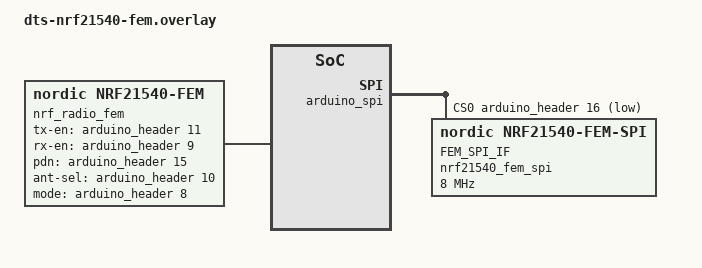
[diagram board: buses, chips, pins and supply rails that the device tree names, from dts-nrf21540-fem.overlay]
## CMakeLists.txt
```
#
# Copyright (c) 2026 Nordic Semiconductor
#
# SPDX-License-Identifier: LicenseRef-Nordic-5-Clause
#
cmake_minimum_required(VERSION 3.20.0)

find_package(Zephyr REQUIRED HINTS $ENV{ZEPHYR_BASE})
project(dtm)

target_sources(app PRIVATE
  src/dtm_twowire_transport.c
  src/main.c
)
```

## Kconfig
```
#
# Copyright (c) 2026 Nordic Semiconductor
#
# SPDX-License-Identifier: LicenseRef-Nordic-5-Clause
#

mainmenu "Nordic DTM sample"

module = DTM_TW_TRANSPORT
module-str = "DTM 2-wire transport"
source "subsys/logging/Kconfig.template.log_config"

source "Kconfig.zephyr"
```

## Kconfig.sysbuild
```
#
# Copyright (c) 2026 Nordic Semiconductor
#
# SPDX-License-Identifier: LicenseRef-Nordic-5-Clause
#

choice APPCORE
	default APPCORE_EMPTY if SOC_NRF5340_CPUNET
	depends on SUPPORT_APPCORE

endchoice

source "share/sysbuild/Kconfig"
```

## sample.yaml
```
sample:
  description: Bluetooth Low Energy Direct Test Mode sample
  name: Bluetooth LE Direct Test Mode
common:
  tags:
    - bluetooth
    - ci_build
    - sysbuild
    - ci_samples_bluetooth
tests:
  sample.bluetooth.direct_test_mode:
    sysbuild: true
    build_only: true
    extra_configs:
      - CONFIG_CLOCK_CONTROL_NRF=n
    integration_platforms:
      - nrf5340dk/nrf5340/cpunet
      - nrf54h20dk/nrf54h20/cpurad
      - nrf54l15dk/nrf54l15/cpuapp
    platform_allow:
      - nrf5340dk/nrf5340/cpunet
      - nrf54l15dk/nrf54l05/cpuapp
      - nrf54l15dk/nrf54l10/cpuapp
      - nrf54l15dk/nrf54l15/cpuapp
      - nrf54lm20dk/nrf54lm20b/cpuapp
      - nrf54lv10dk/nrf54lv10a/cpuapp
      - nrf54lc10dk/nrf54lc10a/cpuapp
      - nrf54ls05dk/nrf54ls05b/cpuapp
      - nrf54ls05dk/nrf54ls05a/cpuapp
      - nrf54h20dk/nrf54h20/cpurad
  sample.bluetooth.direct_test_mode.nrf5340_nrf21540:
    sysbuild: true
    build_only: true
    extra_args: SHIELD=nrf21540ek
    extra_configs:
      - CONFIG_CLOCK_CONTROL_NRF=n
    integration_platforms:
      - nrf5340dk/nrf5340/cpunet
    platform_allow: nrf5340dk/nrf5340/cpunet
  sample.bluetooth.direct_test_mode.nrf2240:
    sysbuild: true
    build_only: true
    extra_args: SHIELD=nrf2240eb
    integration_platforms:
      - nrf5340dk/nrf5340/cpunet
      - nrf54l15dk/nrf54l15/cpuapp
    platform_allow:
      - nrf5340dk/nrf5340/cpunet
      - nrf54l15dk/nrf54l15/cpuapp
```

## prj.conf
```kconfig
# IO
CONFIG_CONSOLE=n
CONFIG_UART_CONSOLE=n
CONFIG_UART_USE_RUNTIME_CONFIGURE=y

# Assertions
CONFIG_ASSERT=y

# hci_raw
CONFIG_BT=y
CONFIG_BT_HCI_RAW=y

# Data buffers
CONFIG_NET_BUF=y
CONFIG_BT_BUF_CMD_TX_SIZE=255
CONFIG_BT_BUF_EVT_RX_SIZE=255

# PHYs
CONFIG_BT_CTLR_PHY_CODED=y

# DTM
CONFIG_BT_CTLR_DTM_HCI=y

# DTM 2-wire to HCI
CONFIG_BT_CTLR_EXTENDED_FEAT_SET=y
CONFIG_DTM_TWOWIRE_TO_HCI=y

# Enable DLE feature
CONFIG_BT_DATA_LEN_UPDATE=y

# Logging
# To enable logging for this sample, assign 'y' to these options
CONFIG_LOG=n
CONFIG_LOG_PRINTK=n
CONFIG_USE_SEGGER_RTT=n
CONFIG_LOG_BACKEND_RTT=n
```

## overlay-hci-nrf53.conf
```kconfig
#
# Copyright (c) 2023 Nordic Semiconductor
#
# SPDX-License-Identifier: LicenseRef-Nordic-5-Clause
#

CONFIG_NCS_SAMPLE_REMOTE_SHELL_CHILD_IMAGE=n
CONFIG_IPC_UART=n

CONFIG_NCS_SAMPLE_DTM_REMOTE_HCI_CHILD_IMAGE=y
CONFIG_NRF_RPC=y
CONFIG_NRF_RPC_CBOR=y

CONFIG_DTM_TRANSPORT_HCI=y
CONFIG_NET_BUF=y
```

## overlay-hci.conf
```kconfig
#
# Copyright (c) 2023 Nordic Semiconductor
#
# SPDX-License-Identifier: LicenseRef-Nordic-5-Clause
#

CONFIG_DTM_TRANSPORT_HCI=y
CONFIG_NET_BUF=y
CONFIG_UART_ASYNC_API=y
```

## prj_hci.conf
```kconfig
#
# Copyright (c) 2020 Nordic Semiconductor
#
# SPDX-License-Identifier: LicenseRef-Nordic-5-Clause
#

# Configure assertions
CONFIG_ASSERT=y
CONFIG_ASSERT_NO_COND_INFO=y
CONFIG_ASSERT_NO_MSG_INFO=y

CONFIG_HW_STACK_PROTECTION=y

CONFIG_CONSOLE=n
CONFIG_UART_CONSOLE=n

CONFIG_LOG=y
CONFIG_LOG_PRINTK=y
CONFIG_USE_SEGGER_RTT=y
CONFIG_LOG_BACKEND_RTT=y

# Use necessary peripherals
CONFIG_NRFX_TIMER=y
CONFIG_NRFX_GPPI=y
CONFIG_CLOCK_CONTROL=y

CONFIG_FEM_AL_LIB=y

CONFIG_DTM_TRANSPORT_HCI=y
CONFIG_NET_BUF=y
CONFIG_UART_ASYNC_API=y
```

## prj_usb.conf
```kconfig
#
# Copyright (c) 2020 Nordic Semiconductor
#
# SPDX-License-Identifier: LicenseRef-Nordic-5-Clause
#

# Configure assertions
CONFIG_ASSERT=y
CONFIG_ASSERT_NO_COND_INFO=y
CONFIG_ASSERT_NO_MSG_INFO=y

CONFIG_HW_STACK_PROTECTION=y

CONFIG_CONSOLE=n
CONFIG_UART_CONSOLE=n

CONFIG_LOG=y
CONFIG_LOG_PRINTK=y
CONFIG_USE_SEGGER_RTT=y
CONFIG_LOG_BACKEND_RTT=y

# Use necessary peripherals
CONFIG_NRFX_TIMER0=y
CONFIG_NRFX_TIMER2=y
CONFIG_NRFX_GPPI=y
CONFIG_CLOCK_CONTROL=y

CONFIG_FEM_AL_LIB=y

CONFIG_DTM_USB=y
```

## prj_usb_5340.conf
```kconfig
#
# Copyright (c) 2020 Nordic Semiconductor
#
# SPDX-License-Identifier: LicenseRef-Nordic-5-Clause
#

# Configure assertions
CONFIG_ASSERT=y
CONFIG_ASSERT_NO_COND_INFO=y
CONFIG_ASSERT_NO_MSG_INFO=y

CONFIG_HW_STACK_PROTECTION=y

CONFIG_CONSOLE=n
CONFIG_UART_CONSOLE=n

CONFIG_LOG=y
CONFIG_LOG_PRINTK=y
CONFIG_USE_SEGGER_RTT=y
CONFIG_LOG_BACKEND_RTT=y

# Use necessary peripherals
CONFIG_NRFX_TIMER=y
CONFIG_NRFX_GPPI=y
CONFIG_CLOCK_CONTROL=y

CONFIG_FEM_AL_LIB=y

CONFIG_DTM_USB=y
```

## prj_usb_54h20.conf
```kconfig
#
# Copyright (c) 2025 Nordic Semiconductor ASA
#
# SPDX-License-Identifier: LicenseRef-Nordic-5-Clause
#
CONFIG_ASSERT=y
CONFIG_ASSERT_NO_COND_INFO=y
CONFIG_ASSERT_NO_MSG_INFO=y

CONFIG_HW_STACK_PROTECTION=y

CONFIG_CONSOLE=n
CONFIG_UART_CONSOLE=n

CONFIG_LOG=y
CONFIG_LOG_PRINTK=y
CONFIG_USE_SEGGER_RTT=y
CONFIG_LOG_BACKEND_RTT=y
CONFIG_MAIN_STACK_SIZE=2048
CONFIG_SYSTEM_WORKQUEUE_STACK_SIZE=2048

# Enable USB CDC ACM Class
CONFIG_USB_DEVICE_STACK_NEXT=y
CONFIG_CDC_ACM_SERIAL_INITIALIZE_AT_BOOT=y
CONFIG_CDC_ACM_SERIAL_PID=0x5448
CONFIG_CDC_ACM_SERIAL_PRODUCT_STRING="Nordic DTM USB"
CONFIG_UART_LINE_CTRL=y
CONFIG_DTM_USB=y
CONFIG_SERIAL=y

# Use necessary peripherals
CONFIG_NRFX_TIMER=y
CONFIG_NRFX_GPPI=y
CONFIG_CLOCK_CONTROL=y
```

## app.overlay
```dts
&uart0 {
	status = "okay";
	current-speed = <19200>;
};
```

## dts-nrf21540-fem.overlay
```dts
/* Copyright (c) 2021 Nordic Semiconductor ASA
 *
 * SPDX-License-Identifier: LicenseRef-Nordic-5-Clause
 */

 / {
	nrf_radio_fem: nrf21540_fem {
		compatible = "nordic,nrf21540-fem";
		tx-en-gpios = <&arduino_header 11 GPIO_ACTIVE_HIGH>;   /* D5 */
		rx-en-gpios = <&arduino_header 9 GPIO_ACTIVE_HIGH>;    /* D3 */
		pdn-gpios = <&arduino_header 15 GPIO_ACTIVE_HIGH>;     /* D9 */
		ant-sel-gpios = <&arduino_header 10 GPIO_ACTIVE_HIGH>; /* D4 */
		mode-gpios = <&arduino_header 8 GPIO_ACTIVE_HIGH>;     /* D2 */
		spi-if = <&nrf_radio_fem_spi>;
	};
};

fem_spi: &arduino_spi {
	status = "okay";
	cs-gpios = <&arduino_header 16 GPIO_ACTIVE_LOW>; /* D10 */

	nrf_radio_fem_spi: nrf21540_fem_spi@0 {
		compatible = "nordic,nrf21540-fem-spi";
		status = "okay";
		reg = <0>;
		label = "FEM_SPI_IF";
		spi-max-frequency = <8000000>;
	};
};
```

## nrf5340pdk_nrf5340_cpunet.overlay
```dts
&uart0 {
	status = "okay";
	current-speed = <19200>;
};

/ {
     zephyr,user {
	     dtm_antenna_count = <12>;
	     dtm_antenna_1_pin = <32>;
	     dtm_antenna_2_pin = <33>;
	     dtm_antenna_3_pin = <34>;
	     dtm_antenna_4_pin = <35>;
	     dtm_antenna_5_pin = <36>;
	     dtm_antenna_6_pin = <37>;
	     dtm_antenna_7_pin = <38>;
	     dtm_antenna_8_pin = <39>;
     };
};
```

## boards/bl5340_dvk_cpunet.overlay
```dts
/ {
	chosen {
		ncs,dtm-uart = &uart0;
	};
};

&uart0 {
	status = "okay";
	compatible = "nordic,nrf-ipc-uart";
	ipc = <&ipc0>;
	ept-name = "remote shell";
	current-speed = <19200>;
};

/* Disable direction finding */
&radio {
	/delete-property/ dfe-supported;
};
```

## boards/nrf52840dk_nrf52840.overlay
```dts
/*
 * Copyright (c) 2023 Nordic Semiconductor ASA
 *
 * SPDX-License-Identifier: LicenseRef-Nordic-5-Clause
 */

/ {
	chosen {
		ncs,dtm-uart = &uart0;
	};

	aliases {
		dtm-alive-pin = &led1;
	};
};

&uart0 {
	status = "okay";
	current-speed = <19200>;
};
```

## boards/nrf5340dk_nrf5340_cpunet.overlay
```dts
/*
 * Copyright (c) 2023 Nordic Semiconductor ASA
 *
 * SPDX-License-Identifier: LicenseRef-Nordic-5-Clause
 */

/ {
	chosen {
		ncs,dtm-uart = &uart_ipc;
	};

	aliases {
		dtm-alive-pin = &led0;
	};

	uart_ipc: uart_ipc {
		status = "okay";
		compatible = "nordic,nrf-ipc-uart";
		ipc = <&ipc0>;
		ept-name = "remote shell";
		current-speed = <19200>;
	};
};

&radio {
	status = "okay";
	/* This is a number of antennas that are available on antenna matrix
	 * designed by Nordic. For more information see README.rst.
	 */
	dfe-antenna-num = <12>;
	/* This is a setting that enables antenna 12 (in antenna matrix designed
	 * by Nordic) for PDU. For more information see README.rst.
	 */
	dfe-pdu-antenna = <0x0>;

	/* These are GPIO pin numbers that are provided to
	 * Radio peripheral. The pins will be acquired by Radio to
	 * drive antenna switching.
	 * Pin numbers are selected to drive switches on antenna matrix
	 * desinged by Nordic. For more information see README.rst.
	 */
	dfegpio0-gpios = <&gpio0 4 0>;
	dfegpio1-gpios = <&gpio0 5 0>;
	dfegpio2-gpios = <&gpio0 6 0>;
	dfegpio3-gpios = <&gpio0 7 0>;
};
```

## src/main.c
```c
/*
 * Copyright (c) 2026 Nordic Semiconductor ASA
 *
 * SPDX-License-Identifier: LicenseRef-Nordic-5-Clause
 */

#include <zephyr/kernel.h>
#include <zephyr/bluetooth/buf.h>
#include <zephyr/bluetooth/hci_raw.h>

#include <bluetooth/dtm_twowire/dtm_twowire_to_hci.h>

#include "dtm_twowire_transport.h"

static K_FIFO_DEFINE(hci_c2h_queue);

int main(void)
{
	printk("Starting DTM sample\n");

	int err;

	err = dtm_tw_transport_init();
	if (err) {
		return err;
	}

	err = bt_enable_raw(&hci_c2h_queue);
	if (err) {
		return err;
	}

	for (;;) {
		const uint16_t tw_cmd = dtm_tw_transport_read();

		printk("Received 2-wire command 0x%04X\n", tw_cmd);

		uint16_t tw_event;
		struct net_buf *p_hci_pkt = bt_buf_get_tx(BT_BUF_CMD, K_FOREVER, NULL, 0);

		dtm_tw_to_hci_status_t status = dtm_tw_to_hci_process_tw_cmd(tw_cmd,
									     p_hci_pkt,
									     &tw_event);
		switch (status) {
		case DTM_TW_TO_HCI_STATUS_ERROR:
			net_buf_unref(p_hci_pkt);
			printk("Error processing 2-wire command 0x%04X\n", tw_cmd);
			break;

		case DTM_TW_TO_HCI_STATUS_TW_EVENT:
			net_buf_unref(p_hci_pkt);
			printk("Sending 2-wire event 0x%04X\n", tw_event);
			dtm_tw_transport_write(tw_event);
			break;

		case DTM_TW_TO_HCI_STATUS_HCI_CMD:
			printk("Sending HCI command to SDC\n");
			err = bt_send(p_hci_pkt);
			/* Note: bt_send unrefs the buffer on success */
			if (err) {
				net_buf_unref(p_hci_pkt);
				return err;
			}

			p_hci_pkt = k_fifo_get(&hci_c2h_queue, K_FOREVER);
			status = dtm_tw_to_hci_process_hci_event(tw_cmd,
								 p_hci_pkt,
								 &tw_event);
			net_buf_unref(p_hci_pkt);
			if (status == DTM_TW_TO_HCI_STATUS_TW_EVENT) {
				dtm_tw_transport_write(tw_event);
			}
			break;

		default:
			net_buf_unref(p_hci_pkt);
			printk("Unexpected status %d processing 2-wire command 0x%04X\n",
			       status, tw_cmd);
			break;
		}
	}
}
```

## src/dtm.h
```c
/*
 * Copyright (c) 2020 Nordic Semiconductor ASA
 *
 * SPDX-License-Identifier: LicenseRef-Nordic-5-Clause
 */

#ifndef DTM_H_
#define DTM_H_

#include <stdbool.h>
#include <zephyr/types.h>
#include <zephyr/devicetree.h>

#ifdef __cplusplus
extern "C" {
#endif

#define NRF_IQ_SAMPLE_INVALID -32768

/** @brief DTM PHY mode */
enum dtm_phy {
	/** Bluetooth Low Energy 1 Mbps PHY. */
	DTM_PHY_1M,

	/** Bluetooth Low Energy 2 Mbps PHY. */
	DTM_PHY_2M,

	/** Bluetooth Low Energy Coded S=8 PHY. */
	DTM_PHY_CODED_S8,

	/** Bluetooth Low Energy Coded S=2 PHY. */
	DTM_PHY_CODED_S2
};

/** @brief DTM modulation index. */
enum dtm_modulation {
	/** Standard modulation index. */
	DTM_MODULATION_STANDARD,

	/** Stable modulation index. */
	DTM_MODULATION_STABLE
};

/** @brief DTM maximum supported values. */
enum dtm_max_supported {
	/** Maximum supported TX octets. */
	DTM_MAX_SUPPORTED_TX_OCTETS,

	/** Maximum supported TX time. */
	DTM_MAX_SUPPORTED_TX_TIME,

	/** Maximum supported RX octets. */
	DTM_MAX_SUPPORTED_RX_OCTETS,

	/** Maximum supported RX time. */
	DTM_MAX_SUPPORTED_RX_TIME,

	/** Maximum supported Constant Tone Extension length. */
	DTM_MAX_SUPPORTED_CTE_LENGTH
};

/** @brief Constant Tone Extension type. */
enum dtm_cte_type {
	/** Do not use Constant Tone Extension. */
	DTM_CTE_TYPE_NONE,

	/** Angle of Arrival. */
	DTM_CTE_TYPE_AOA,

	/** Angle of Departure 1 us slots. */
	DTM_CTE_TYPE_AOD_1US,

	/** Angle of Departure 2 us slots. */
	DTM_CTE_TYPE_AOD_2US
};

/** @brief DTM Constant Tone Extension slot duration. */
enum dtm_cte_slot_duration {
	/** CTE 1 us slots duration. */
	DTM_CTE_SLOT_DURATION_1US,

	/** CTE 2 us slots duration. */
	DTM_CTE_SLOT_DURATION_2US
};

/** @brief DTM transmit power request. */
enum dtm_tx_power_request {
	/** Request minimum power. */
	DTM_TX_POWER_REQUEST_MIN,

	/** Request maximum power. */
	DTM_TX_POWER_REQUEST_MAX,

	/** Request power by value. */
	DTM_TX_POWER_REQUEST_VAL
};

/** @brief DTM packet type. */
enum dtm_packet {
	/** Packet filled with PRBS9 stream as payload. */
	DTM_PACKET_PRBS9,

	/** Packet with 0x0F bytes as payload. */
	DTM_PACKET_0F,

	/** Packet with 0x55 bytes as payload. */
	DTM_PACKET_55,

	/** Packet filled with PRBS15 stream as payload. */
	DTM_PACKET_PRBS15,

	/** Packet with 0xFF bytes as payload or vendor specific packet. */
	DTM_PACKET_FF_OR_VENDOR,

	/** Packet with 0xFF bytes as payload. */
	DTM_PACKET_FF,

	/** Packet with 0x00 bytes as payload. */
	DTM_PACKET_00,

	/** Packet with 0xF0 bytes as payload. */
	DTM_PACKET_F0,

	/** Packet with 0xAA bytes as payload. */
	DTM_PACKET_AA,

	/** Vendor-specific packet. */
	DTM_PACKET_VENDOR
};

/** @brief DTM supported features. */
struct dtm_supp_features {
	/** Support for Data Packet Length Extension. */
	bool data_len_ext;

	/** Support for Bluetooth Low Energy 2 Mbps PHY. */
	bool phy_2m;

	/** Support for Stable Modulation Index. */
	bool stable_mod;

	/** Support for Bluetooth Low Energy Coded PHY. */
	bool coded_phy;

	/** Support for Constant Tone Extension. */
	bool cte;

	/** Support for Antenna switching. */
	bool ant_switching;

	/** Support for AoD transmission 1 us switching. */
	bool aod_1us_tx;

	/** Support for AoD reception 1 us switching. */
	bool aod_1us_rx;

	/** Support for AoA reception 1 us switching and sampling. */
	bool aoa_1us_rx;
};

/** @brief DTM transmit power. */
struct dtm_tx_power {
	/** Actual power in dBm. */
	int8_t power;

	/** Power at minimum level. */
	bool min;

	/** Power at maximum level. */
	bool max;
};

/** @brief DTM Packet status for IQ Sample report. */
enum dtm_packet_status {
	/** Packet received with proper CRC. */
	DTM_PACKET_STATUS_CRC_OK,

	/** Packet received with invalid CRC.
	 *  The Length and CTEInfo was used to calculate sampling points.
	 */
	DTM_PACKET_STATUS_CRC_ERR_TIME,

	/** Packet received with invalid CRC.
	 *  The sampling points were calculated in another way.
	 */
	DTM_PACKET_STATUS_CRC_ERR_OTHER,

	/** Packet received with invalid CRC.
	 *  Insufficient resources to sample.
	 */
	DTM_PACKET_STATUS_CRC_ERR_INSUFFICIENT
};

/** @brief IQ sample format. */
struct dtm_iq_sample {
	/** I sample value. */
	int16_t i;

	/** Q sample value. */
	int16_t q;
};

/** @brief DTM IQ sampling data with additional information. */
struct dtm_iq_data {
	/** Channel number. */
	uint8_t channel;

	/** RSSI value of received packet. */
	int16_t rssi;

	/** Antenna number used to measure RSSI. */
	uint8_t rssi_ant;

	/** CTE type. */
	enum dtm_cte_type type;

	/** CTE slot duration. */
	enum dtm_cte_slot_duration slot;

	/** Packet status. */
	enum dtm_packet_status status;

	/** IQ sample count. */
	uint8_t sample_cnt;

	/** IQ samples. */
	struct dtm_iq_sample *samples;
};

/** @brief Callback to report received IQ samples.
 *
 * @note The callback is used only with direction finding.
 *
 * @param[in] data Pointer to dtm_iq_data structure.
 */
typedef void (*dtm_iq_report_callback_t)(struct dtm_iq_data *data);

/** @brief Initialize the DTM module.
 *
 * This function initializes the DTM module and registers the IQ sampling callback.
 * If the callback is not needed, the pointer can be NULL.
 *
 * @param[in] iq_callback Function pointer to the IQ report callback, can be NULL.
 *
 * @return 0 in case of success or negative value in case of error.
 */
int dtm_init(dtm_iq_report_callback_t callback);

/** @brief Prepare DTM for setup.
 *
 * @note This function should be called before setup functions.
 * The function can be called once before a block of setup functions.
 */
void dtm_setup_prepare(void);

/** @brief Reset the DTM state.
 *
 * The PHY is set to Bluetooth Low Energy 1M mode.
 * The modulation index is set to standard.
 * The CTE is turned off.
 *
 * @return 0 in case of success or negative value in case of error.
 */
int dtm_setup_reset(void);

/** @brief Set the PHY for DTM.
 *
 * @param[in] phy The PHY to be used.
 *
 * @return 0 in case of success or negative value in case of error.
 */
int dtm_setup_set_phy(enum dtm_phy phy);

/** @brief Set the modulation for DTM.
 *
 * @param[in] modulation The modulation to be used.
 *
 * @return 0 in case of success or negative value in case of error.
 */
int dtm_setup_set_modulation(enum dtm_modulation modulation);

/** @brief Read supported BLE features.
 *
 * @return Features supported by the device.
 */
struct dtm_supp_features dtm_setup_read_features(void);

/** @brief Read the maximum supported parameter value by DTM.
 *
 * @param[in] parameter Value to be read.
 * @param[out] max_val  The pointer to the maximum value.
 *
 * @return 0 in case of success or negative value in case of error.
 */
int dtm_setup_read_max_supported_value(enum dtm_max_supported parameter, uint16_t *max_val);

/** @brief Setup the CTE for DTM.
 *
 * @param[in] type The CTE type to be used.
 * @param[in] time The time of CTE in 8 us units.
 *
 * @return 0 in case of success or negative value in case of error.
 */
int dtm_setup_set_cte_mode(enum dtm_cte_type type, uint8_t time);

/** @brief Set the CTE slots duration for DTM.
 *
 * @param[in] slot The CTE slots duration.
 *
 * @return 0 in case of success or negative value in case of error.
 */
int dtm_setup_set_cte_slot(enum dtm_cte_slot_duration slot);

/** @brief Set the antenna parameters for DTM.
 *
 * @param[in] count       The antenna count.
 * @param[in] pattern     The antenna switching pattern.
 * @param[in] pattern_len The length of the pattern.
 *
 * @return 0 in case of success or negative value in case of error.
 */
int dtm_setup_set_antenna_params(uint8_t count, uint8_t *pattern, uint8_t pattern_len);

/** @brief Set the transmit power for DTM.
 *
 * @param[in] power   The transmit power request.
 * @param[in] val     TX power value (in dBm) in case of DTM_TX_POWER_REQUEST_VAL request.
 * @param[in] channel The channel to adjust power (set to 0 if unknown).
 *
 * @return The actual TX power set by the function.
 */
struct dtm_tx_power dtm_setup_set_transmit_power(enum dtm_tx_power_request power, int8_t val,
						 uint8_t channel);

/** @brief Start the DTM reception test.
 *
 * @param[in] channel The reception channel.
 *
 * @return 0 in case of success or negative value in case of error.
 */
int dtm_test_receive(uint8_t channel);

/** @brief Start the DTM transmission test.
 *
 * @param[in] channel The transmission channel.
 * @param[in] length  The packet length.
 * @param[in] pkt     The packet type.
 *
 * @return 0 in case of success or negative value in case of error.
 */
int dtm_test_transmit(uint8_t channel, uint8_t length, enum dtm_packet pkt);

/** @brief Stop the DTM test.
 *
 * Stop current DTM test and return the number of received packets.
 *
 * @param[out] pack_cnt The pointer to the received packet count.
 *
 * @return 0 in case of success or negative value in case of error.
 */
int dtm_test_end(uint16_t *pack_cnt);

#ifdef __cplusplus
}
#endif

#endif /* DTM_H_ */

/** @} */
```

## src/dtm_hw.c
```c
/*
 * Copyright (c) 2020 Nordic Semiconductor ASA
 *
 * SPDX-License-Identifier: LicenseRef-Nordic-5-Clause
 */

#include "nrfx.h"

#include "dtm_hw.h"
#include "dtm_hw_config.h"

/* All valid power levels (in dBm) supported by the SoC. */
const int8_t nrf_power_value[] = {
#if defined(RADIO_TXPOWER_TXPOWER_Neg100dBm)
	-100,
#endif /* defined(RADIO_TXPOWER_TXPOWER_Neg100dBm) */
#if defined(RADIO_TXPOWER_TXPOWER_Neg70dBm)
	-70,
#endif /* defined(RADIO_TXPOWER_TXPOWER_Neg70dBm) */
#if defined(RADIO_TXPOWER_TXPOWER_Neg46dBm)
	-46,
#endif /* defined(RADIO_TXPOWER_TXPOWER_Neg46dBm) */
#if defined(RADIO_TXPOWER_TXPOWER_Neg40dBm)
	-40,
#endif /* RADIO_TXPOWER_TXPOWER_Neg40dBm */
#if defined(RADIO_TXPOWER_TXPOWER_Neg30dBm)
	-30,
#endif /* defined(RADIO_TXPOWER_TXPOWER_Neg30dBm) */
#if defined(RADIO_TXPOWER_TXPOWER_Neg28dBm)
	-28,
#endif /* defined(RADIO_TXPOWER_TXPOWER_Neg28dBm) */
#if defined(RADIO_TXPOWER_TXPOWER_Neg22dBm)
	-22,
#endif /* defined(RADIO_TXPOWER_TXPOWER_Neg22dBm) */
	-20,
#if defined(RADIO_TXPOWER_TXPOWER_Neg18dBm)
	-18,
#endif /* defined(RADIO_TXPOWER_TXPOWER_Neg18dBm) */
	-16,
#if defined(RADIO_TXPOWER_TXPOWER_Neg14dBm)
	-14,
#endif /* defined(RADIO_TXPOWER_TXPOWER_Neg14dBm) */
	-12,
#if defined(RADIO_TXPOWER_TXPOWER_Neg10dBm)
	-10,
#endif /* defined(RADIO_TXPOWER_TXPOWER_Neg10dBm) */
#if defined(RADIO_TXPOWER_TXPOWER_Neg9dBm)
	-9,
#endif /* defined(RADIO_TXPOWER_TXPOWER_Neg9dBm) */
	-8,
#if defined(RADIO_TXPOWER_TXPOWER_Neg7dBm)
	-7,
#endif /* defined(RADIO_TXPOWER_TXPOWER_Neg7dBm) */
#if defined(RADIO_TXPOWER_TXPOWER_Neg6dBm)
	-6,
#endif /* defined(RADIO_TXPOWER_TXPOWER_Neg6dBm) */
#if defined(RADIO_TXPOWER_TXPOWER_Neg5dBm)
	-5,
#endif /* defined(RADIO_TXPOWER_TXPOWER_Neg5dBm) */
	-4,
#if defined(RADIO_TXPOWER_TXPOWER_Neg3dBm)
	-3,
#endif /* defined (RADIO_TXPOWER_TXPOWER_Neg3dBm) */
#if defined(RADIO_TXPOWER_TXPOWER_Neg2dBm)
	-2,
#endif /* defined (RADIO_TXPOWER_TXPOWER_Neg2dBm) */
#if defined(RADIO_TXPOWER_TXPOWER_Neg1dBm)
	-1,
#endif /* defined (RADIO_TXPOWER_TXPOWER_Neg1dBm) */
	0,
#if defined(RADIO_TXPOWER_TXPOWER_Pos1dBm)
	1,
#endif /* RADIO_TXPOWER_TXPOWER_Pos1dBm */
#if defined(RADIO_TXPOWER_TXPOWER_Pos2dBm)
	2,
#endif /* defined(RADIO_TXPOWER_TXPOWER_Pos2dBm) */
#if defined(RADIO_TXPOWER_TXPOWER_Pos3dBm)
	3,
#endif /* defined(RADIO_TXPOWER_TXPOWER_Pos3dBm) */
#if defined(RADIO_TXPOWER_TXPOWER_Pos4dBm)
	4,
#endif /* defined(RADIO_TXPOWER_TXPOWER_Pos4dBm) */
#if defined(RADIO_TXPOWER_TXPOWER_Pos5dBm)
	5,
#endif /* defined(RADIO_TXPOWER_TXPOWER_Pos5dBm) */
#if defined(RADIO_TXPOWER_TXPOWER_Pos6dBm)
	6,
#endif /* defined(RADIO_TXPOWER_TXPOWER_Pos6dBm) */
#if defined(RADIO_TXPOWER_TXPOWER_Pos7dBm)
	7,
#endif /* defined(RADIO_TXPOWER_TXPOWER_Pos7dBm) */
#if defined(RADIO_TXPOWER_TXPOWER_Pos8dBm)
	8,
#endif /* defined(RADIO_TXPOWER_TXPOWER_Pos8dBm) */
#if defined(RADIO_TXPOWER_TXPOWER_Pos9dBm)
	9,
#endif /* defined(RADIO_TXPOWER_TXPOWER_Pos9dBm) */
#if defined(RADIO_TXPOWER_TXPOWER_Pos10dBm)
	10
#endif /* defined(RADIO_TXPOWER_TXPOWER_Pos10dBm) */
};

#if DIRECTION_FINDING_SUPPORTED

#define DTM_MAX_ANTENNA_NUMBER 19

#define DFE_GPIO_PIN_DISCONNECT (RADIO_PSEL_DFEGPIO_CONNECT_Disconnected << \
				 RADIO_PSEL_DFEGPIO_CONNECT_Pos)

#define HAS_DFE_GPIO(idx) DT_NODE_HAS_PROP(RADIO_NODE, dfegpio##idx##_gpios)

/* Run a macro 'fn' on each available DFE GPIO index, from 0 to
 * MAX_DFE_GPIO-1, with the given parenthesized separator.
 */
#if DTM_HW_MAX_DFE_GPIO == 8
#define FOR_EACH_DFE_GPIO(fn, sep) FOR_EACH(fn, sep, 0, 1, 2, 3, 4, 5, 6, 7)
#elif DTM_HW_MAX_DFE_GPIO == 7
#define FOR_EACH_DFE_GPIO(fn, sep) FOR_EACH(fn, sep, 0, 1, 2, 3, 4, 5, 6)
#else
#error "Unsupported DFE GPIO count"
#endif

/* The number of dfegpio[n]-gpios properties which are set. */
#define DFE_GPIO_NUM (FOR_EACH_DFE_GPIO(HAS_DFE_GPIO, (+)))

#define PDU_ANTENNA DT_PROP(RADIO_NODE, dfe_pdu_antenna)

/* The minimum number of antennas required to enable antenna switching. */
#define MIN_ANTENNA_NUM 1

/* The maximum number of antennas supported by the number of
 * dfegpio[n]-gpios properties which are set.
 */
#if (DFE_GPIO_NUM > 0)
#define MAX_ANTENNA_NUM BIT(DFE_GPIO_NUM)
#else
#define MAX_ANTENNA_NUM 0
#endif

/*
 * Check that the number of antennas has been set, and that enough
 * pins are configured to represent each pattern for the given number
 * of antennas.
 */
#define HAS_ANTENNA_NUM DT_NODE_HAS_PROP(RADIO_NODE, dfe_antenna_num)

BUILD_ASSERT(HAS_ANTENNA_NUM,
	     "You must set the dfe-antenna-num property in the radio node "
	     "to enable antenna switching.");

#define ANTENNA_NUM DT_PROP_OR(RADIO_NODE, dfe_antenna_num, 0)


BUILD_ASSERT(!HAS_ANTENNA_NUM || (ANTENNA_NUM <= MAX_ANTENNA_NUM),
	     "Insufficient number of GPIO pins configured. "
	     "Set more dfegpio[n]-gpios properties.");
BUILD_ASSERT(!HAS_ANTENNA_NUM || (ANTENNA_NUM >= MIN_ANTENNA_NUM),
	     "Insufficient number of antennas provided. "
	     "Increase the dfe-antenna-num property.");

#define HAS_PDU_ANTENNA DT_NODE_HAS_PROP(RADIO_NODE, dfe_pdu_antenna)

BUILD_ASSERT(HAS_PDU_ANTENNA,
	     "Missing antenna pattern used to select antenna for PDU Tx "
	     "during the CTE Idle state. "
	     "Set the dfe-pdu-antenna devicetree property.");

/*
 * Check that each dfegpio[n]-gpios property has a zero flags cell.
 */
#define ASSERT_DFE_GPIO_FLAGS_ARE_ZERO(idx)				   \
	BUILD_ASSERT(DT_GPIO_FLAGS(RADIO_NODE, dfegpio##idx##_gpios) == 0, \
		     "The flags cell in each dfegpio[n]-gpios "		   \
		     "property must be zero.")

FOR_EACH_DFE_GPIO(ASSERT_DFE_GPIO_FLAGS_ARE_ZERO, (;));

#define DFE_GPIO_PSEL(idx)					  \
	NRF_DT_GPIOS_TO_PSEL_OR(RADIO_NODE, dfegpio##idx##_gpios, \
				DTM_HW_DFE_PSEL_NOT_SET)

static const struct dtm_ant_cfg {
	uint8_t ant_num;
	/* Selection of GPIOs to be used to switch antennas by Radio */
	uint8_t dfe_gpio[DTM_HW_MAX_DFE_GPIO];
} ant_cfg = {
	.ant_num = (ANTENNA_NUM > DTM_MAX_ANTENNA_NUMBER) ? DTM_MAX_ANTENNA_NUMBER : ANTENNA_NUM,
	.dfe_gpio = { FOR_EACH_DFE_GPIO(DFE_GPIO_PSEL, (,)) }
};
#endif /* DIRECTION_FINDING_SUPPORTED */

bool dtm_hw_radio_validate(int8_t tx_power,
			   nrf_radio_mode_t radio_mode)
{
	/* Initializing code below is quite generic - for BLE, the values are
	 * fixed, and expressions are constant. Non-constant values are
	 * essentially set in radio_prepare().
	 */

	if (!(
#if CONFIG_HAS_HW_NRF_RADIO_BLE_CODED
		radio_mode == NRF_RADIO_MODE_BLE_LR125KBIT  ||
		radio_mode == NRF_RADIO_MODE_BLE_LR500KBIT  ||
#endif /* CONFIG_HAS_HW_NRF_RADIO_BLE_CODED */
		radio_mode == NRF_RADIO_MODE_BLE_1MBIT      ||
		radio_mode == NRF_RADIO_MODE_BLE_2MBIT
		)
	) {
		return false;
	}

	for (size_t i = 0; i < ARRAY_SIZE(nrf_power_value); i++) {
		if (tx_power == nrf_power_value[i]) {
			return true;
		}
	}

	return false;
}

bool dtm_hw_radio_lr_check(nrf_radio_mode_t radio_mode)
{
#if CONFIG_HAS_HW_NRF_RADIO_BLE_CODED
	if (radio_mode == NRF_RADIO_MODE_BLE_LR125KBIT) {
		return true;
	}

	if (radio_mode == NRF_RADIO_MODE_BLE_LR500KBIT) {
		return true;
	}
#endif /* CONFIG_HAS_HW_NRF_RADIO_BLE_CODED */

	return false;
}

uint32_t dtm_hw_radio_min_power_get(void)
{
	return nrf_power_value[0];
}

uint32_t dtm_hw_radio_max_power_get(void)
{
	return nrf_power_value[ARRAY_SIZE(nrf_power_value) - 1];
}

size_t dtm_hw_radio_power_array_size_get(void)
{
	return ARRAY_SIZE(nrf_power_value);
}

const int8_t *dtm_hw_radio_power_array_get(void)
{
	return nrf_power_value;
}

#if DIRECTION_FINDING_SUPPORTED
size_t dtm_hw_radio_antenna_number_get(void)
{
	return ant_cfg.ant_num;
}

const uint8_t *dtm_hw_radio_antenna_pin_array_get(void)
{
	return ant_cfg.dfe_gpio;
}

uint8_t dtm_hw_radio_pdu_antenna_get(void)
{
	return PDU_ANTENNA;
}
#endif /* DIRECTION_FINDING_SUPPORTED */
```

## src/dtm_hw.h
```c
/*
 * Copyright (c) 2020 Nordic Semiconductor ASA
 *
 * SPDX-License-Identifier: LicenseRef-Nordic-5-Clause
 */

#ifndef DTM_HW_H_
#define DTM_HW_H_

#include <stdbool.h>
#include <zephyr/types.h>

#include <hal/nrf_radio.h>

/**
 * @file
 * @defgroup dtm_hw DTM Hardware API
 * @brief DTM Hardware API.
 */

#ifdef __cplusplus
extern "C" {
#endif

/* Number of PSEL_DFEGPIO[n] registers in the radio peripheral. */
#if defined(RADIO_PSEL_DFEGPIO_MaxCount)
#define DTM_HW_MAX_DFE_GPIO RADIO_PSEL_DFEGPIO_MaxCount
#else
#define DTM_HW_MAX_DFE_GPIO 8
#endif

/* Indicates that GPIO pin is not connected to the radio */
#define DTM_HW_DFE_PSEL_NOT_SET 0xFF

/* Disconnect pin from the RADIO DFGPIO register. */
#define DTM_HW_DFE_GPIO_PIN_DISCONNECT (RADIO_PSEL_DFEGPIO_CONNECT_Disconnected << \
					RADIO_PSEL_DFEGPIO_CONNECT_Pos)

/**@brief Function for validating tx power and radio mode settings.
 * @param[in] tx_power    TX power for transmission test in dBm.
 * @param[in] radio_mode  Radio mode value.
 *
 * @retval true  If validation was successful
 * @retval false Otherwise
 */
bool dtm_hw_radio_validate(int8_t tx_power,
			   nrf_radio_mode_t radio_mode);

/**@brief Function for checking if Radio operates in Long Range mode.
 * @param[in] radio_mode  Radio mode value.
 *
 * @retval true  If Long Range Radio mode is set
 * @retval false Otherwise
 */
bool dtm_hw_radio_lr_check(nrf_radio_mode_t radio_mode);

/**@brief Function for getting minimum tx power.
 *
 * @retval Minimum tx power value.
 */
uint32_t dtm_hw_radio_min_power_get(void);

/**@brief Function for getting maximum tx power.
 *
 * @retval Maximum tx power value.
 */
uint32_t dtm_hw_radio_max_power_get(void);

/**@brief Function for getting power array size. This array contains all
 *        possible tx power values for given divice sorted in ascending
 *        order.
 *
 * @reval Size of the tx power array.
 */
size_t dtm_hw_radio_power_array_size_get(void);

/**@brief Function for getting tx power array. This array contains all
 *        possible tx power values for given divice sorted in ascending
 *        order.
 *
 * @retval Size of the tx power array.
 */
const int8_t *dtm_hw_radio_power_array_get(void);

/**@brief Function for getting antenna pins array. This array contains
 *        all antenna pins data.
 *
 * @retval Pointer to the first element in antenna pins array.
 */
const uint8_t *dtm_hw_radio_antenna_pin_array_get(void);

/**@brief Function for getting available antenna number.
 *
 * @retval Maximum antenna number that DTM can use.
 */
size_t dtm_hw_radio_antenna_number_get(void);

/**@brief Function for getting the PDU antenna.
 *
 * @retval The PDU antenna.
 */
uint8_t dtm_hw_radio_pdu_antenna_get(void);

#ifdef __cplusplus
}
#endif

#endif /* DTM_HW_H_ */
```

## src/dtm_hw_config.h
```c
/*
 * Copyright (c) 2020 Nordic Semiconductor ASA
 *
 * SPDX-License-Identifier: LicenseRef-Nordic-5-Clause
 */

#ifndef DTM_HW_CONFIG_H_
#define DTM_HW_CONFIG_H_

#ifdef __cplusplus
extern "C" {
#endif

/* Devicetree node identifier for the radio node. */
#define RADIO_NODE DT_NODELABEL(radio)

#if DT_PROP(DT_NODELABEL(radio), dfe_supported) && \
	DT_NODE_HAS_STATUS(RADIO_NODE, okay)
#define DIRECTION_FINDING_SUPPORTED 1
#else
#define DIRECTION_FINDING_SUPPORTED 0
#endif /* DT_PROP(DT_NODELABEL(radio), dfe_supported) && \
	* DT_NODE_HAS_STATUS(RADIO_NODE, okay)
	*/

/* Maximum transmit or receive time, in microseconds, that the local
 * Controller supports for transmission of a single
 * Link Layer Data Physical Channel PDU, divided by 2.
 */
#if defined(NRF52840_XXAA) || defined(NRF52833_XXAA) || \
	defined(NRF52811_XXAA) || defined(NRF52820_XXAA)
#define NRF_MAX_RX_TX_TIME 0x2148
#else
#define NRF_MAX_RX_TX_TIME 0x424
#endif /* defined(NRF52840_XXAA) || defined(NRF52833_XXAA) ||
	* defined(NRF52811_XXAA) || defined(NRF52820_XXAA)
	*/

#ifdef __cplusplus
}
#endif

#endif /* DTM_HW_CONFIG_H_ */
```

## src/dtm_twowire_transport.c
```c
/*
 * Copyright (c) 2026 Nordic Semiconductor ASA
 *
 * SPDX-License-Identifier: LicenseRef-Nordic-5-Clause
 */

#include <errno.h>
#include <stdbool.h>
#include <zephyr/drivers/uart.h>
#include <zephyr/logging/log.h>
#include <zephyr/kernel.h>
#include <zephyr/pm/device_runtime.h>

#include "dtm_twowire_transport.h"

LOG_MODULE_REGISTER(dtm_tw_transport, CONFIG_DTM_TW_TRANSPORT_LOG_LEVEL);

/* The DTM maximum wait time in milliseconds for the UART command second byte.
 * Based on Bluetooth Core Specification v6.2, Vol 6, Part F, 3.5 Timing - command and event
 */
#define DTM_UART_SECOND_BYTE_MAX_DELAY_MS 5

#define DTM_UART DT_CHOSEN(zephyr_console)

/* UART Baudrate used to communicate with the DTM library. */
#define DTM_UART_BAUDRATE 19200

/* The UART poll cycle in micro seconds.
 * A baud rate of e.g. 19200 bits / second, and 8 data bits, 1 start/stop bit,
 * no flow control, give the time to transmit a byte:
 * 10 bits * 1/19200 = approx: 520 us.
 */
#define DTM_UART_POLL_CYCLE_US ((uint32_t) (10 * 1e6 / DTM_UART_BAUDRATE))

static const struct device *dtm_uart = DEVICE_DT_GET_OR_NULL(DTM_UART);

int dtm_tw_transport_init(void)
{
	if (!device_is_ready(dtm_uart)) {
		LOG_ERR("UART device not ready");
		return -EIO;
	}

	int ret;

#if defined(CONFIG_SOC_SERIES_NRF54H)
	/* Use pm_device_runtime_get() to keep the UART powered on the nRF54H20 */
	ret = pm_device_runtime_get(dtm_uart);

	if (ret < 0) {
		LOG_ERR("Failed to get DTM UART runtime PM: %d\n", ret);
		return ret;
	}
#endif /* defined(CONFIG_SOC_SERIES_NRF54H) */

	/* Configure UART */
	struct uart_config cfg;

	ret = uart_config_get(dtm_uart, &cfg);

	if (ret != 0) {
		return ret;
	}

	cfg.baudrate = DTM_UART_BAUDRATE;
	return uart_configure(dtm_uart, &cfg);
}

uint16_t dtm_tw_transport_read(void)
{
	bool is_msb_read = false;
	uint8_t rx_byte;
	uint16_t tw_packet = 0;
	int64_t msb_time_ms = 0;
	int err;

	for (;;) {
		k_sleep(K_USEC(DTM_UART_POLL_CYCLE_US));

		err = uart_poll_in(dtm_uart, &rx_byte);
		if (err) {
			if (err != -1) {
				LOG_ERR("UART polling error: %d", err);
			}

			/* Nothing read from the UART */
			continue;
		}

		if (!is_msb_read) {
			/* This is first byte of two-byte command. */
			is_msb_read = true;
			tw_packet = rx_byte << 8;
			msb_time_ms = k_uptime_get();

			/* Go back and wait for 2nd byte of command word. */
			continue;
		}

		/* This is the second byte read; combine it with the first and
		 * process command.
		 */
		if ((k_uptime_get() - msb_time_ms) >
				DTM_UART_SECOND_BYTE_MAX_DELAY_MS) {
			/* More than ~5mS after MSB: Drop old byte, take the
			 * new byte as MSB. The variable is_msb_read will
			 * remain true.
			 */
			tw_packet = rx_byte << 8;
			msb_time_ms = k_uptime_get();
			/* Go back and wait for 2nd byte of command word. */
			LOG_DBG("Received byte discarded");
			continue;
		} else {
			tw_packet |= rx_byte;
			LOG_INF("Received 0x%04x command", tw_packet);
			return tw_packet;
		}
	}
}

void dtm_tw_transport_write(uint16_t tw_packet)
{
	LOG_INF("Sending 0x%04x packet", tw_packet);

	uart_poll_out(dtm_uart, (tw_packet >> 8) & 0xFF);
	uart_poll_out(dtm_uart, tw_packet & 0xFF);
}
```

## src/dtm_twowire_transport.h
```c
/*
 * Copyright (c) 2026 Nordic Semiconductor ASA
 *
 * SPDX-License-Identifier: LicenseRef-Nordic-5-Clause
 */

#ifndef DTM_TWOWIRE_TRANSPORT_H_
#define DTM_TWOWIRE_TRANSPORT_H_

#include <stdint.h>

#ifdef __cplusplus
extern "C" {
#endif

/**
 * @brief Initialize the 2-wire UART transport.
 *
 * @note This function must succeed before any other function in this module is called.
 *
 * @return 0 on success, negative error code on failure.
 */
int dtm_tw_transport_init(void);

/**
 * @brief Read a 2-wire UART packet.
 *
 * @note This function blocks until a complete 2-wire packet is read.
 *
 * @return The 2-wire packet read.
 */
uint16_t dtm_tw_transport_read(void);

/**
 * @brief Write a 2-wire UART packet.
 *
 * @param[in] tw_packet The 2-wire packet to write.
 */
void dtm_tw_transport_write(uint16_t tw_packet);

#ifdef __cplusplus
}
#endif

#endif /* DTM_TWOWIRE_TRANSPORT_H_ */
```
